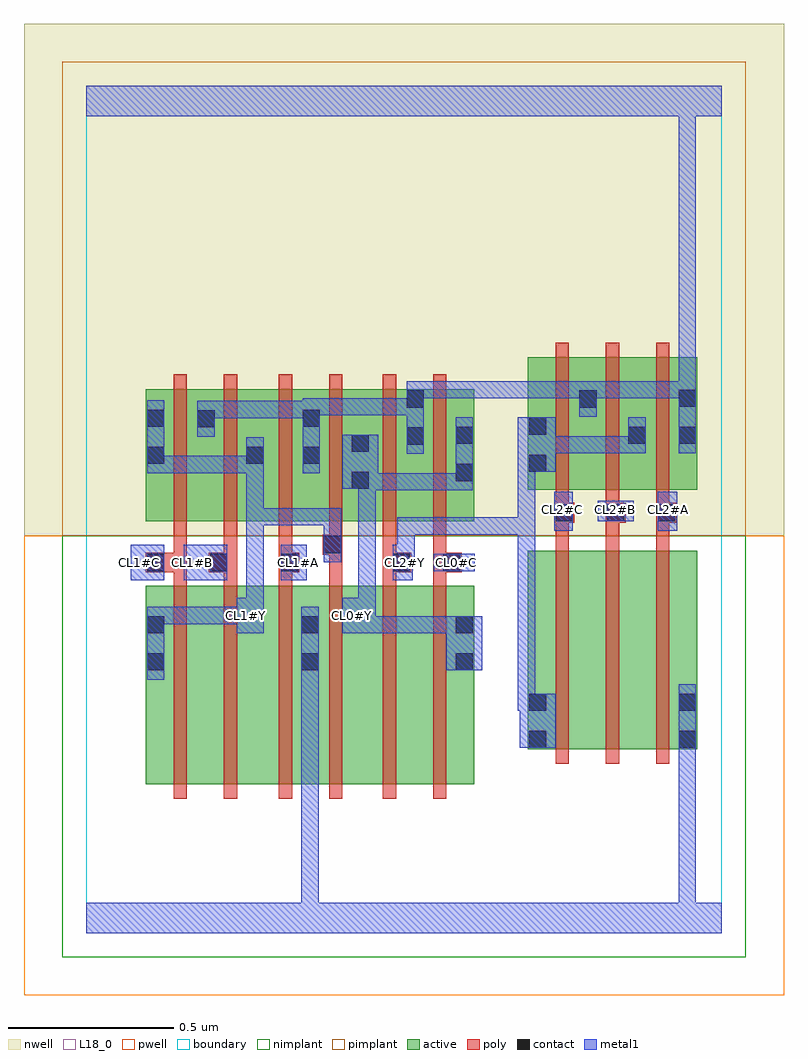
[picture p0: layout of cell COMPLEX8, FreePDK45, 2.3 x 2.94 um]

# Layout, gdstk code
import gdstk
lib = gdstk.Library(unit=1e-6, precision=1e-09)
def R(c, l, rs):  # rectangles x0, y0, x1, y1
    for r in rs: c.add(gdstk.rectangle(r[:2], r[2:], *l))
def A(c, l, x, y, w, h, nx, ny, dx, dy):  # array of equal rectangles
    R(c, l, [(x+i*dx, y+j*dy, x+i*dx+w, y+j*dy+h) for i in range(nx) for j in range(ny)])
active = (1, 0)
pwell = (2, 0)
nwell = (3, 0)
nimplant = (4, 0)
pimplant = (5, 0)
poly = (9, 0)
contact = (10, 0)
metal1 = (11, 0)
L18_0 = (18, 0)
boundary = (235, 0)

complex8 = lib.new_cell('COMPLEX8')
R(complex8, active, [(0.18,0.45,0.24,1.05), (0.18,0.45,0.36,1.05), (0.36,0.45,0.526,1.05), (0.526,0.45,0.706,1.05), (0.646,0.45,0.83,1.05), (0.83,0.45,0.992,1.05), (0.992,0.45,1.172,1.05), (0.646,0.556,0.706,0.962), (1.112,0.556,1.172,1.05), (1.334,0.556,1.394,1.156), (1.334,0.556,1.514,1.156), (1.514,0.556,1.666,1.156), (1.666,0.556,1.846,1.156), (1.786,0.556,1.846,1.156), (0.18,1.244,0.24,1.644), (0.18,1.244,0.392,1.644), (0.332,1.244,0.392,1.644), (0.332,1.244,0.54,1.644), (0.48,1.244,0.71,1.644), (0.65,1.244,0.71,1.644), (0.65,1.244,0.858,1.644), (0.798,1.244,0.858,1.644), (0.798,1.244,1.024,1.644), (0.964,1.244,1.024,1.644), (0.964,1.244,1.172,1.644), (1.112,1.244,1.172,1.644), (1.334,1.34,1.546,1.74), (1.334,1.34,1.394,1.644), (1.486,1.34,1.694,1.74), (1.634,1.34,1.846,1.74), (1.786,1.34,1.846,1.74), (0.48,1.414,0.54,1.644), (1.486,1.474,1.546,1.74), (1.634,1.474,1.694,1.644)])
R(complex8, pwell, [(-0.188,-0.188,2.108,1.2)])
R(complex8, nwell, [(-0.188,1.2,2.108,2.748)])
R(complex8, nimplant, [(-0.072,-0.072,1.992,1.2)])
R(complex8, pimplant, [(-0.072,1.2,1.992,2.632)])
A(complex8, poly, 1.418, 0.512, 0.04, 0.688, 3, 1, 0.152, 0)
A(complex8, poly, 1.418, 1.16, 0.04, 0.12, 3, 1, 0.152, 0)
A(complex8, poly, 1.418, 1.26, 0.04, 0.076, 3, 1, 0.152, 0)
A(complex8, poly, 1.418, 1.296, 0.04, 0.488, 3, 1, 0.152, 0)
R(complex8, poly, [(0.264,0.406,0.304,1.094), (0.416,0.406,0.456,1.094), (0.582,0.406,0.622,1.094), (0.734,0.406,0.774,1.094), (0.896,0.406,0.936,1.094), (1.048,0.406,1.088,1.094), (0.264,1.054,0.304,1.13), (0.416,1.054,0.456,1.13), (0.582,1.054,0.622,1.13), (0.734,1.054,0.774,1.184), (0.896,1.054,0.936,1.13), (1.048,1.054,1.088,1.13), (0.18,1.09,0.304,1.15), (0.264,1.09,0.304,1.13), (0.264,1.09,0.304,1.13), (0.37,1.09,0.456,1.15), (0.416,1.09,0.456,1.13), (0.416,1.09,0.456,1.13), (0.582,1.09,0.644,1.15), (0.896,1.09,0.936,1.13), (0.896,1.09,0.936,1.13), (0.896,1.09,0.982,1.15), (1.048,1.09,1.134,1.15), (0.264,1.11,0.304,1.24), (0.416,1.11,0.456,1.24), (0.582,1.11,0.622,1.15), (0.582,1.11,0.622,1.15), (0.582,1.11,0.622,1.24), (0.896,1.11,0.936,1.24), (1.048,1.11,1.088,1.15), (1.048,1.11,1.088,1.15), (1.048,1.11,1.088,1.24), (0.714,1.144,0.774,1.204), (0.734,1.144,0.774,1.184), (0.734,1.144,0.774,1.184), (0.734,1.164,0.774,1.24), (0.264,1.2,0.304,1.688), (0.416,1.2,0.456,1.688), (0.582,1.2,0.622,1.688), (0.734,1.2,0.774,1.688), (0.896,1.2,0.936,1.688), (1.048,1.2,1.088,1.688), (1.414,1.24,1.474,1.3), (1.418,1.24,1.458,1.28), (1.418,1.24,1.458,1.28), (1.57,1.24,1.61,1.28), (1.57,1.24,1.61,1.28), (1.57,1.24,1.63,1.3), (1.722,1.24,1.762,1.28), (1.722,1.24,1.762,1.28), (1.722,1.24,1.782,1.3)])
A(complex8, contact, 0.184, 0.794, 0.052, 0.052, 3, 2, 0.466, 0.112)
R(complex8, contact, [(1.338,0.56,1.39,0.612), (1.79,0.56,1.842,0.612), (1.338,0.672,1.39,0.724), (1.79,0.672,1.842,0.724), (0.184,1.094,0.236,1.146), (0.374,1.094,0.426,1.146), (0.588,1.094,0.64,1.146), (0.926,1.094,0.978,1.146), (1.078,1.094,1.13,1.146), (0.718,1.148,0.77,1.2), (1.418,1.244,1.47,1.296), (1.574,1.244,1.626,1.296), (1.726,1.244,1.778,1.296), (0.802,1.342,0.854,1.394), (1.116,1.366,1.168,1.418), (1.338,1.394,1.39,1.446), (0.184,1.418,0.236,1.47), (0.484,1.418,0.536,1.47), (0.654,1.418,0.706,1.47), (0.802,1.454,0.854,1.506), (0.968,1.476,1.02,1.528), (1.116,1.478,1.168,1.53), (1.638,1.478,1.69,1.53), (1.79,1.478,1.842,1.53), (1.338,1.506,1.39,1.558), (0.336,1.528,0.388,1.58), (0.184,1.53,0.236,1.582), (0.654,1.53,0.706,1.582), (0.968,1.588,1.02,1.64), (1.49,1.588,1.542,1.64), (1.79,1.59,1.842,1.642)])
R(complex8, metal1, [(0,0,1.92,0.092), (0.65,0.04,0.702,0.092), (0.65,0.04,0.702,0.092), (0.65,0.04,0.702,0.092), (0.65,0.04,0.702,0.092), (0.65,0.04,0.702,0.818), (1.79,0.04,1.842,0.092), (1.79,0.04,1.842,0.092), (1.79,0.04,1.842,0.092), (1.79,0.04,1.842,0.092), (1.79,0.04,1.842,0.092), (1.79,0.04,1.842,0.092), (1.79,0.04,1.842,0.092), (1.79,0.04,1.842,0.092), (1.79,0.04,1.842,0.584), (1.79,0.532,1.842,0.752), (1.31,0.56,1.418,0.724), (1.304,0.672,1.356,1.256), (1.304,0.672,1.362,0.724), (1.31,0.672,1.362,0.724), (0.184,0.766,0.236,0.986), (0.65,0.766,0.702,0.818), (0.65,0.766,0.702,0.818), (0.65,0.766,0.702,0.818), (0.65,0.766,0.702,0.818), (0.65,0.766,0.702,0.986), (1.088,0.794,1.196,0.958), (0.454,0.906,0.536,1.014), (0.774,0.906,0.874,1.014), (0.822,0.906,0.992,0.958), (0.94,0.906,0.992,0.958), (0.94,0.906,0.992,0.958), (0.94,0.906,0.992,0.958), (0.94,0.906,0.992,0.958), (0.94,0.906,0.992,0.958), (0.94,0.906,1.14,0.958), (1.088,0.906,1.14,0.958), (1.088,0.906,1.14,0.958), (0.184,0.934,0.236,0.986), (0.184,0.934,0.236,0.986), (0.184,0.934,0.236,0.986), (0.184,0.934,0.236,0.986), (0.184,0.934,0.346,0.986), (0.294,0.934,0.346,0.986), (0.294,0.934,0.346,0.986), (0.294,0.934,0.346,0.986), (0.294,0.934,0.506,0.986), (0.484,0.962,0.536,1.284), (0.822,0.962,0.874,1.014), (0.822,0.962,0.874,1.014), (0.822,0.962,0.874,1.394), (0.134,1.066,0.236,1.174), (0.294,1.066,0.426,1.174), (0.588,1.066,0.666,1.174), (0.926,1.066,0.986,1.174), (1.05,1.094,1.174,1.146), (0.718,1.12,0.77,1.284), (0.934,1.122,0.992,1.174), (0.94,1.122,0.992,1.256), (0.94,1.204,1.198,1.256), (1.146,1.204,1.198,1.256), (1.146,1.204,1.198,1.256), (1.146,1.204,1.198,1.256), (1.146,1.204,1.356,1.256), (1.304,1.204,1.356,1.256), (1.304,1.204,1.356,1.446), (1.414,1.216,1.47,1.334), (1.726,1.216,1.786,1.334), (0.484,1.232,0.536,1.284), (0.484,1.232,0.536,1.284), (0.484,1.232,0.536,1.284), (0.484,1.232,0.646,1.284), (0.484,1.232,0.536,1.442), (0.594,1.232,0.646,1.284), (0.594,1.232,0.77,1.284), (1.546,1.244,1.654,1.306), (0.83,1.338,1.03,1.39), (0.83,1.338,0.882,1.394), (0.978,1.338,1.03,1.39), (0.978,1.338,1.168,1.39), (1.116,1.338,1.168,1.39), (1.116,1.338,1.168,1.39), (1.116,1.338,1.168,1.558), (0.774,1.342,0.882,1.506), (0.83,1.342,0.882,1.394), (0.184,1.39,0.236,1.442), (0.184,1.39,0.236,1.442), (0.184,1.39,0.236,1.61), (0.184,1.39,0.396,1.442), (0.344,1.39,0.396,1.442), (0.344,1.39,0.396,1.442), (0.344,1.39,0.396,1.442), (0.344,1.39,0.536,1.442), (0.484,1.39,0.536,1.498), (0.654,1.39,0.706,1.61), (1.304,1.394,1.418,1.558), (0.968,1.448,1.02,1.668), (1.366,1.45,1.418,1.502), (1.366,1.45,1.418,1.502), (1.366,1.45,1.528,1.502), (1.476,1.45,1.528,1.502), (1.476,1.45,1.528,1.502), (1.476,1.45,1.528,1.502), (1.476,1.45,1.69,1.502), (1.638,1.45,1.69,1.558), (1.79,1.45,1.842,1.67), (0.336,1.5,0.388,1.608), (0.336,1.556,0.388,1.608), (0.336,1.556,0.388,1.608), (0.336,1.556,0.536,1.608), (0.484,1.556,0.536,1.608), (0.484,1.556,0.536,1.608), (0.484,1.556,0.536,1.608), (0.484,1.556,0.706,1.608), (0.654,1.558,0.706,1.61), (0.654,1.558,0.706,1.616), (1.49,1.56,1.542,1.668), (0.654,1.564,0.88,1.616), (0.828,1.564,0.88,1.616), (0.828,1.564,0.88,1.616), (0.828,1.564,0.88,1.616), (0.828,1.564,1.02,1.616), (0.968,1.616,1.198,1.668), (1.146,1.616,1.198,1.668), (1.146,1.616,1.198,1.668), (1.146,1.616,1.198,1.668), (1.146,1.616,1.308,1.668), (1.256,1.616,1.308,1.668), (1.256,1.616,1.308,1.668), (1.256,1.616,1.308,1.668), (1.256,1.616,1.542,1.668), (1.49,1.616,1.542,1.668), (1.49,1.616,1.542,1.668), (1.49,1.616,1.732,1.668), (1.68,1.616,1.732,1.668), (1.68,1.616,1.732,1.668), (1.68,1.616,1.732,1.668), (1.68,1.616,1.842,1.668), (1.79,1.618,1.842,1.67), (1.79,1.618,1.842,1.67), (1.79,1.618,1.842,2.52), (0,2.468,1.92,2.56), (1.79,2.468,1.842,2.52), (1.79,2.468,1.842,2.52), (1.79,2.468,1.842,2.52), (1.79,2.468,1.842,2.52), (1.79,2.468,1.842,2.52), (1.79,2.468,1.842,2.52), (1.79,2.468,1.842,2.52), (1.79,2.468,1.842,2.52), (1.79,2.468,1.842,2.52), (1.79,2.468,1.842,2.52), (1.79,2.468,1.842,2.52), (1.79,2.468,1.842,2.52), (1.79,2.468,1.842,2.52), (1.79,2.468,1.842,2.52)])
A(complex8, L18_0, 0.294, 1.094, 0.052, 0.052, 3, 1, 0.32, 0)
A(complex8, L18_0, 1.414, 1.254, 0.052, 0.052, 3, 1, 0.16, 0)
R(complex8, L18_0, [(0,0,1.92,0.092), (0.65,0.04,0.702,0.092), (0.65,0.04,0.702,0.092), (0.65,0.04,0.702,0.092), (0.65,0.04,0.702,0.092), (0.65,0.04,0.702,0.818), (1.79,0.04,1.842,0.092), (1.79,0.04,1.842,0.092), (1.79,0.04,1.842,0.092), (1.79,0.04,1.842,0.092), (1.79,0.04,1.842,0.092), (1.79,0.04,1.842,0.092), (1.79,0.04,1.842,0.092), (1.79,0.04,1.842,0.092), (1.79,0.04,1.842,0.584), (1.79,0.532,1.842,0.752), (1.31,0.56,1.418,0.724), (1.304,0.672,1.362,0.724), (1.304,0.672,1.356,1.256), (1.31,0.672,1.362,0.724), (0.184,0.766,0.236,0.986), (0.65,0.766,0.702,0.986), (0.65,0.766,0.702,0.818), (0.65,0.766,0.702,0.818), (0.65,0.766,0.702,0.818), (0.65,0.766,0.702,0.818), (1.088,0.794,1.196,0.958), (0.454,0.906,0.536,1.014), (0.774,0.906,0.874,1.014), (0.822,0.906,0.992,0.958), (0.94,0.906,0.992,0.958), (0.94,0.906,0.992,0.958), (0.94,0.906,0.992,0.958), (0.94,0.906,0.992,0.958), (0.94,0.906,0.992,0.958), (0.94,0.906,1.14,0.958), (1.088,0.906,1.14,0.958), (1.088,0.906,1.14,0.958), (0.184,0.934,0.236,0.986), (0.184,0.934,0.236,0.986), (0.184,0.934,0.236,0.986), (0.184,0.934,0.236,0.986), (0.184,0.934,0.346,0.986), (0.294,0.934,0.346,0.986), (0.294,0.934,0.346,0.986), (0.294,0.934,0.346,0.986), (0.294,0.934,0.506,0.986), (0.454,0.934,0.506,0.986), (0.774,0.934,0.826,0.986), (0.484,0.962,0.536,1.284), (0.822,0.962,0.874,1.014), (0.822,0.962,0.874,1.014), (0.822,0.962,0.874,1.394), (0.134,1.066,0.236,1.174), (0.294,1.066,0.426,1.174), (0.588,1.066,0.666,1.174), (0.926,1.066,0.986,1.174), (0.134,1.094,0.186,1.146), (1.05,1.094,1.174,1.146), (1.094,1.094,1.146,1.146), (0.718,1.12,0.77,1.284), (0.934,1.122,0.992,1.174), (0.94,1.122,0.992,1.256), (0.94,1.204,1.198,1.256), (1.146,1.204,1.198,1.256), (1.146,1.204,1.198,1.256), (1.146,1.204,1.198,1.256), (1.146,1.204,1.356,1.256), (1.304,1.204,1.356,1.256), (1.304,1.204,1.356,1.446), (1.414,1.216,1.47,1.334), (1.726,1.216,1.786,1.334), (0.484,1.232,0.536,1.284), (0.484,1.232,0.536,1.284), (0.484,1.232,0.536,1.284), (0.484,1.232,0.646,1.284), (0.484,1.232,0.536,1.442), (0.594,1.232,0.646,1.284), (0.594,1.232,0.77,1.284), (1.546,1.244,1.654,1.306), (0.83,1.338,1.03,1.39), (0.83,1.338,0.882,1.394), (0.978,1.338,1.03,1.39), (0.978,1.338,1.168,1.39), (1.116,1.338,1.168,1.558), (1.116,1.338,1.168,1.39), (1.116,1.338,1.168,1.39), (0.774,1.342,0.882,1.506), (0.83,1.342,0.882,1.394), (0.184,1.39,0.236,1.61), (0.184,1.39,0.236,1.442), (0.184,1.39,0.236,1.442), (0.184,1.39,0.396,1.442), (0.344,1.39,0.396,1.442), (0.344,1.39,0.396,1.442), (0.344,1.39,0.396,1.442), (0.344,1.39,0.536,1.442), (0.484,1.39,0.536,1.498), (0.654,1.39,0.706,1.61), (1.304,1.394,1.418,1.558), (0.968,1.448,1.02,1.668), (1.366,1.45,1.418,1.502), (1.366,1.45,1.418,1.502), (1.366,1.45,1.528,1.502), (1.476,1.45,1.528,1.502), (1.476,1.45,1.528,1.502), (1.476,1.45,1.528,1.502), (1.476,1.45,1.69,1.502), (1.638,1.45,1.69,1.558), (1.79,1.45,1.842,1.67), (0.336,1.5,0.388,1.608), (0.336,1.556,0.388,1.608), (0.336,1.556,0.388,1.608), (0.336,1.556,0.536,1.608), (0.484,1.556,0.536,1.608), (0.484,1.556,0.536,1.608), (0.484,1.556,0.536,1.608), (0.484,1.556,0.706,1.608), (0.654,1.558,0.706,1.61), (0.654,1.558,0.706,1.616), (1.49,1.56,1.542,1.668), (0.654,1.564,0.88,1.616), (0.828,1.564,0.88,1.616), (0.828,1.564,0.88,1.616), (0.828,1.564,0.88,1.616), (0.828,1.564,1.02,1.616), (0.968,1.616,1.198,1.668), (1.146,1.616,1.198,1.668), (1.146,1.616,1.198,1.668), (1.146,1.616,1.198,1.668), (1.146,1.616,1.308,1.668), (1.256,1.616,1.308,1.668), (1.256,1.616,1.308,1.668), (1.256,1.616,1.308,1.668), (1.256,1.616,1.542,1.668), (1.49,1.616,1.542,1.668), (1.49,1.616,1.542,1.668), (1.49,1.616,1.732,1.668), (1.68,1.616,1.732,1.668), (1.68,1.616,1.732,1.668), (1.68,1.616,1.732,1.668), (1.68,1.616,1.842,1.668), (1.79,1.618,1.842,1.67), (1.79,1.618,1.842,1.67), (1.79,1.618,1.842,2.52), (0,2.468,1.92,2.56), (1.79,2.468,1.842,2.52), (1.79,2.468,1.842,2.52), (1.79,2.468,1.842,2.52), (1.79,2.468,1.842,2.52), (1.79,2.468,1.842,2.52), (1.79,2.468,1.842,2.52), (1.79,2.468,1.842,2.52), (1.79,2.468,1.842,2.52), (1.79,2.468,1.842,2.52), (1.79,2.468,1.842,2.52), (1.79,2.468,1.842,2.52), (1.79,2.468,1.842,2.52), (1.79,2.468,1.842,2.52), (1.79,2.468,1.842,2.52)])
R(complex8, boundary, [(0,0,1.92,2.56)])
complex8.add(gdstk.Label('CL0#C', (1.12,1.12), layer=11, texttype=0))
complex8.add(gdstk.Label('CL0#Y', (0.8,0.96), layer=11, texttype=0))
complex8.add(gdstk.Label('CL1#A', (0.64,1.12), layer=11, texttype=0))
complex8.add(gdstk.Label('CL1#B', (0.32,1.12), layer=11, texttype=0))
complex8.add(gdstk.Label('CL1#C', (0.16,1.12), layer=11, texttype=0))
complex8.add(gdstk.Label('CL1#Y', (0.48,0.96), layer=11, texttype=0))
complex8.add(gdstk.Label('CL2#A', (1.76,1.28), layer=11, texttype=0))
complex8.add(gdstk.Label('CL2#B', (1.6,1.28), layer=11, texttype=0))
complex8.add(gdstk.Label('CL2#C', (1.44,1.28), layer=11, texttype=0))
complex8.add(gdstk.Label('CL2#Y', (0.96,1.12), layer=11, texttype=0))

lib.write_gds('COMPLEX8.gds')
